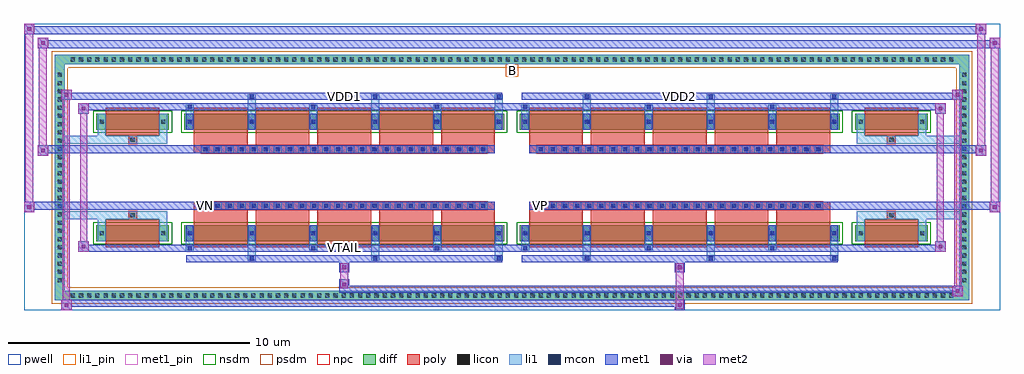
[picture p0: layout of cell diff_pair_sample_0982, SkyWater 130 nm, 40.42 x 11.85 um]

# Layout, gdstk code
import gdstk
lib = gdstk.Library(unit=1e-6, precision=5e-09)
def R(c, l, rs):  # rectangles x0, y0, x1, y1
    for r in rs: c.add(gdstk.rectangle(r[:2], r[2:], *l))
def A(c, l, x, y, w, h, nx, ny, dx, dy):  # array of equal rectangles
    R(c, l, [(x+i*dx, y+j*dy, x+i*dx+w, y+j*dy+h) for i in range(nx) for j in range(ny)])
def P(c, l, *ps):  # polygons
    for p in ps: c.add(gdstk.Polygon(p, *l))
pwell = (64, 44)
diff = (65, 20)
poly = (66, 20)
licon = (66, 44)
li1_pin = (67, 16)
li1 = (67, 20)
mcon = (67, 44)
met1_pin = (68, 16)
met1 = (68, 20)
via = (68, 44)
met2 = (69, 20)
nsdm = (93, 44)
psdm = (94, 20)
npc = (95, 20)

diff_pair_sample_0982 = lib.new_cell('diff_pair_sample_0982')
R(diff_pair_sample_0982, pwell, [(-20.21,-5.49,20.21,6.36), (-17.53,-3.68,-0.01,-0.8), (0.01,-3.68,17.53,-0.8), (-17.53,0.8,-0.01,3.68), (0.01,0.8,17.53,3.68)])
A(diff_pair_sample_0982, diff, -18.395, -5.09, 0.41, 0.41, 108, 2, 0.34, 9.77)
A(diff_pair_sample_0982, diff, -18.94, -4.455, 0.41, 0.41, 1, 26, 0, 0.34)
A(diff_pair_sample_0982, diff, 18.53, -4.455, 0.41, 0.41, 1, 26, 0, 0.34)
R(diff_pair_sample_0982, diff, [(-18.395,-5.09,18.395,-4.68), (-18.94,-4.455,-18.53,4.455), (18.53,-4.455,18.94,4.455), (-17.22,-2.635,-14.21,-1.985), (-13.57,-2.635,-0.32,-1.985), (0.32,-2.635,13.57,-1.985), (14.21,-2.635,17.22,-1.985), (-17.22,1.985,-14.21,2.635), (-13.57,1.985,-0.32,2.635), (0.32,1.985,13.57,2.635), (14.21,1.985,17.22,2.635), (-18.395,4.68,18.395,5.09)])
P(diff_pair_sample_0982, diff, [(18.94,5.09),(-18.94,5.09),(-18.94,-4.68),(-18.53,-4.68),(-18.53,4.68),(18.53,4.68),(18.53,-4.68),(-18.53,-4.68),(-18.94,-4.68),(-18.94,-5.09),(18.94,-5.09)])
A(diff_pair_sample_0982, poly, -13.18, -2.885, 2.23, 1.15, 5, 2, 2.56, 4.62)
A(diff_pair_sample_0982, poly, 0.71, -2.885, 2.23, 1.15, 5, 2, 2.56, 4.62)
A(diff_pair_sample_0982, poly, -13.18, -1.735, 2.23, 0.405, 5, 2, 2.56, 3.065)
A(diff_pair_sample_0982, poly, 0.71, -1.735, 2.23, 0.405, 5, 2, 2.56, 3.065)
A(diff_pair_sample_0982, poly, -12.86, -1.33, 0.33, 0.33, 24, 2, 0.5, 2.33)
A(diff_pair_sample_0982, poly, 1.03, -1.33, 0.33, 0.33, 24, 2, 0.5, 2.33)
R(diff_pair_sample_0982, poly, [(-16.83,-2.885,-14.6,-1.735), (14.6,-2.885,16.83,-1.735), (-15.88,-1.735,-15.55,-1.405), (-15.88,-1.735,-15.55,-1.405), (15.55,-1.735,15.88,-1.405), (15.55,-1.735,15.88,-1.405), (-13.18,-1.33,-0.71,-1), (0.71,-1.33,13.18,-1), (-13.18,1,-0.71,1.33), (0.71,1,13.18,1.33), (-15.88,1.405,-15.55,1.735), (-15.88,1.405,-15.55,1.735), (15.55,1.405,15.88,1.735), (15.55,1.405,15.88,1.735), (-16.83,1.735,-14.6,2.885), (14.6,1.735,16.83,2.885)])
A(diff_pair_sample_0982, licon, -18.275, -4.97, 0.17, 0.17, 108, 2, 0.34, 9.77)
A(diff_pair_sample_0982, licon, -18.82, -4.335, 0.17, 0.17, 1, 26, 0, 0.34)
A(diff_pair_sample_0982, licon, 18.65, -4.335, 0.17, 0.17, 1, 26, 0, 0.34)
A(diff_pair_sample_0982, licon, -13.43, -2.395, 0.17, 0.17, 6, 2, 2.56, 4.62)
A(diff_pair_sample_0982, licon, 0.46, -2.395, 0.17, 0.17, 6, 2, 2.56, 4.62)
A(diff_pair_sample_0982, licon, -12.78, -1.25, 0.17, 0.17, 24, 2, 0.5, 2.33)
A(diff_pair_sample_0982, licon, 1.11, -1.25, 0.17, 0.17, 24, 2, 0.5, 2.33)
R(diff_pair_sample_0982, licon, [(-17.08,-2.395,-16.91,-2.225), (-14.52,-2.395,-14.35,-2.225), (14.35,-2.395,14.52,-2.225), (16.91,-2.395,17.08,-2.225), (-15.8,-1.655,-15.63,-1.485), (15.63,-1.655,15.8,-1.485), (-15.8,1.485,-15.63,1.655), (15.63,1.485,15.8,1.655), (-17.08,2.225,-16.91,2.395), (-14.52,2.225,-14.35,2.395), (14.35,2.225,14.52,2.395), (16.91,2.225,17.08,2.395)])
R(diff_pair_sample_0982, li1_pin, [(-0.25,4.18,0.25,4.68)])
A(diff_pair_sample_0982, li1, -18.355, -5.05, 0.33, 0.33, 108, 2, 0.34, 9.77)
A(diff_pair_sample_0982, li1, -18.9, -4.415, 0.33, 0.33, 1, 26, 0, 0.34)
A(diff_pair_sample_0982, li1, 18.57, -4.415, 0.33, 0.33, 1, 26, 0, 0.34)
A(diff_pair_sample_0982, li1, -10.95, -3.44, 0.33, 0.805, 3, 2, 5.12, 6.075)
A(diff_pair_sample_0982, li1, -10.87, -3.44, 0.17, 0.17, 3, 2, 5.12, 6.71)
A(diff_pair_sample_0982, li1, 2.94, -3.44, 0.33, 0.805, 3, 2, 5.12, 6.075)
A(diff_pair_sample_0982, li1, 3.02, -3.44, 0.17, 0.17, 3, 2, 5.12, 6.71)
A(diff_pair_sample_0982, li1, -13.51, -3.01, 0.33, 0.375, 3, 2, 5.12, 5.645)
A(diff_pair_sample_0982, li1, -13.43, -3.01, 0.17, 0.17, 3, 2, 5.12, 5.85)
A(diff_pair_sample_0982, li1, 0.38, -3.01, 0.33, 0.375, 3, 2, 5.12, 5.645)
A(diff_pair_sample_0982, li1, 0.46, -3.01, 0.17, 0.17, 3, 2, 5.12, 5.85)
A(diff_pair_sample_0982, li1, -13.51, -2.635, 0.33, 0.65, 6, 2, 2.56, 4.62)
A(diff_pair_sample_0982, li1, 0.38, -2.635, 0.33, 0.65, 6, 2, 2.56, 4.62)
A(diff_pair_sample_0982, li1, -13.51, -2.475, 0.33, 0.33, 6, 2, 2.56, 4.62)
A(diff_pair_sample_0982, li1, 0.38, -2.475, 0.33, 0.33, 6, 2, 2.56, 4.62)
A(diff_pair_sample_0982, li1, -12.86, -1.33, 0.33, 0.33, 24, 2, 0.5, 2.33)
A(diff_pair_sample_0982, li1, 1.03, -1.33, 0.33, 0.33, 24, 2, 0.5, 2.33)
R(diff_pair_sample_0982, li1, [(-18.94,-5.09,-18.53,-4.68), (-18.94,-5.09,-18.53,-4.68), (-18.53,-5.09,18.53,-4.68), (18.53,-5.09,18.94,-4.68), (18.53,-5.09,18.94,-4.68), (-18.94,-4.68,-18.53,4.68), (18.53,-4.68,18.94,4.68), (-17.16,-2.635,-16.83,-1.985), (-14.6,-2.635,-14.27,-1.985), (14.27,-2.635,14.6,-1.985), (16.83,-2.635,17.16,-1.985), (-17.16,-2.475,-16.83,-2.145), (-14.6,-2.475,-14.27,-2.145), (14.27,-2.475,14.6,-2.145), (16.83,-2.475,17.16,-2.145), (-13.43,-2.395,-13.26,-2.225), (-13.43,-2.395,-13.26,-2.225), (-10.87,-2.395,-10.7,-2.225), (-10.87,-2.395,-10.7,-2.225), (-8.31,-2.395,-8.14,-2.225), (-8.31,-2.395,-8.14,-2.225), (-5.75,-2.395,-5.58,-2.225), (-5.75,-2.395,-5.58,-2.225), (-3.19,-2.395,-3.02,-2.225), (-3.19,-2.395,-3.02,-2.225), (-0.63,-2.395,-0.46,-2.225), (-0.63,-2.395,-0.46,-2.225), (0.46,-2.395,0.63,-2.225), (0.46,-2.395,0.63,-2.225), (3.02,-2.395,3.19,-2.225), (3.02,-2.395,3.19,-2.225), (5.58,-2.395,5.75,-2.225), (5.58,-2.395,5.75,-2.225), (8.14,-2.395,8.31,-2.225), (8.14,-2.395,8.31,-2.225), (10.7,-2.395,10.87,-2.225), (10.7,-2.395,10.87,-2.225), (13.26,-2.395,13.43,-2.225), (13.26,-2.395,13.43,-2.225), (-17.16,-1.985,-16.83,-1.405), (-14.6,-1.985,-14.27,-1.405), (14.27,-1.985,14.6,-1.405), (16.83,-1.985,17.16,-1.405), (-18.94,-1.735,-15.88,-1.405), (-17.16,-1.735,-15.88,-1.405), (-15.88,-1.735,-15.55,-1.405), (-15.55,-1.735,-14.27,-1.405), (14.27,-1.735,15.55,-1.405), (15.55,-1.735,15.88,-1.405), (15.55,-1.735,18.94,-1.405), (15.88,-1.735,17.16,-1.405), (-18.94,1.405,-15.88,1.735), (-17.16,1.405,-15.88,1.735), (-17.16,1.405,-16.83,1.985), (-15.88,1.405,-15.55,1.735), (-15.55,1.405,-14.27,1.735), (-14.6,1.405,-14.27,1.985), (14.27,1.405,15.55,1.735), (14.27,1.405,14.6,1.985), (15.55,1.405,15.88,1.735), (15.55,1.405,18.94,1.735), (15.88,1.405,17.16,1.735), (16.83,1.405,17.16,1.985), (-17.16,1.985,-16.83,2.635), (-14.6,1.985,-14.27,2.635), (14.27,1.985,14.6,2.635), (16.83,1.985,17.16,2.635), (-17.16,2.145,-16.83,2.475), (-14.6,2.145,-14.27,2.475), (14.27,2.145,14.6,2.475), (16.83,2.145,17.16,2.475), (-13.43,2.225,-13.26,2.395), (-13.43,2.225,-13.26,2.395), (-10.87,2.225,-10.7,2.395), (-10.87,2.225,-10.7,2.395), (-8.31,2.225,-8.14,2.395), (-8.31,2.225,-8.14,2.395), (-5.75,2.225,-5.58,2.395), (-5.75,2.225,-5.58,2.395), (-3.19,2.225,-3.02,2.395), (-3.19,2.225,-3.02,2.395), (-0.63,2.225,-0.46,2.395), (-0.63,2.225,-0.46,2.395), (0.46,2.225,0.63,2.395), (0.46,2.225,0.63,2.395), (3.02,2.225,3.19,2.395), (3.02,2.225,3.19,2.395), (5.58,2.225,5.75,2.395), (5.58,2.225,5.75,2.395), (8.14,2.225,8.31,2.395), (8.14,2.225,8.31,2.395), (10.7,2.225,10.87,2.395), (10.7,2.225,10.87,2.395), (13.26,2.225,13.43,2.395), (13.26,2.225,13.43,2.395), (-18.94,4.68,-18.53,5.09), (-18.94,4.68,-18.53,5.09), (-18.53,4.68,18.53,5.09), (18.53,4.68,18.94,5.09), (18.53,4.68,18.94,5.09)])
A(diff_pair_sample_0982, mcon, -10.87, -3.44, 0.17, 0.17, 3, 2, 5.12, 6.71)
A(diff_pair_sample_0982, mcon, 3.02, -3.44, 0.17, 0.17, 3, 2, 5.12, 6.71)
A(diff_pair_sample_0982, mcon, -13.43, -3.01, 0.17, 0.17, 3, 2, 5.12, 5.85)
A(diff_pair_sample_0982, mcon, 0.46, -3.01, 0.17, 0.17, 3, 2, 5.12, 5.85)
A(diff_pair_sample_0982, mcon, -13.43, -2.395, 0.17, 0.17, 6, 2, 2.56, 4.62)
A(diff_pair_sample_0982, mcon, 0.46, -2.395, 0.17, 0.17, 6, 2, 2.56, 4.62)
A(diff_pair_sample_0982, mcon, -12.78, -1.25, 0.17, 0.17, 24, 2, 0.5, 2.33)
A(diff_pair_sample_0982, mcon, 1.11, -1.25, 0.17, 0.17, 24, 2, 0.5, 2.33)
R(diff_pair_sample_0982, met1_pin, [(-7.08,-3.05,-6.81,-2.78), (-12.83,-1.29,-12.56,-1.02), (1.06,-1.29,1.33,-1.02), (-7.08,3.23,-6.81,3.5), (6.81,3.23,7.08,3.5)])
A(diff_pair_sample_0982, met1, -10.93, -3.5, 0.29, 0.29, 3, 2, 5.12, 6.71)
A(diff_pair_sample_0982, met1, 2.96, -3.5, 0.29, 0.29, 3, 2, 5.12, 6.71)
A(diff_pair_sample_0982, met1, -13.49, -3.07, 0.29, 0.29, 3, 2, 5.12, 5.85)
A(diff_pair_sample_0982, met1, 0.4, -3.07, 0.29, 0.29, 3, 2, 5.12, 5.85)
A(diff_pair_sample_0982, met1, -13.49, -2.635, 0.29, 0.65, 6, 2, 2.56, 4.62)
A(diff_pair_sample_0982, met1, 0.4, -2.635, 0.29, 0.65, 6, 2, 2.56, 4.62)
A(diff_pair_sample_0982, met1, -13.49, -2.455, 0.29, 0.29, 6, 2, 2.56, 4.62)
A(diff_pair_sample_0982, met1, 0.4, -2.455, 0.29, 0.29, 6, 2, 2.56, 4.62)
A(diff_pair_sample_0982, met1, -12.84, -1.31, 0.29, 0.29, 24, 2, 0.5, 2.33)
A(diff_pair_sample_0982, met1, 1.05, -1.31, 0.29, 0.29, 24, 2, 0.5, 2.33)
R(diff_pair_sample_0982, met1, [(-18.67,-5.49,-18.24,-5.06), (6.73,-5.49,7.16,-5.06), (-18.67,-5.35,7.16,-5.06), (18.24,-4.92,18.67,-4.49), (-7.16,-4.78,18.67,-4.49), (-7.16,-4.64,-6.73,-4.21), (-7.16,-3.93,-6.73,-3.5), (6.73,-3.93,7.16,-3.5), (-13.49,-3.5,-0.4,-3.21), (0.4,-3.5,13.49,-3.21), (-17.96,-3.07,-17.53,-2.64), (-17.96,-3.07,-13.49,-2.78), (-13.49,-3.07,-0.4,-2.78), (-0.4,-3.07,0.4,-2.78), (0.4,-3.07,13.49,-2.78), (13.49,-3.07,17.96,-2.78), (17.53,-3.07,17.96,-2.64), (-20.21,-1.43,-19.78,-1), (19.78,-1.43,20.21,-1), (-20.21,-1.33,-0.71,-1), (-13.18,-1.33,-0.71,-1), (0.71,-1.33,13.18,-1), (0.71,-1.33,20.21,-1), (-19.64,0.9,-19.21,1.33), (19.21,0.9,19.64,1.33), (-19.64,1,-13.18,1.33), (-13.18,1,-0.71,1.33), (0.71,1,13.18,1.33), (13.18,1,19.64,1.33), (-17.96,2.64,-17.53,3.07), (17.53,2.64,17.96,3.07), (-17.96,2.78,-13.49,3.07), (-13.49,2.78,-0.4,3.07), (-0.4,2.78,0.4,3.07), (0.4,2.78,13.49,3.07), (13.49,2.78,17.96,3.07), (-18.67,3.21,-18.24,3.64), (-18.67,3.21,-13.49,3.5), (-13.49,3.21,-0.4,3.5), (0.4,3.21,13.49,3.5), (13.49,3.21,18.67,3.5), (18.24,3.21,18.67,3.64), (-19.64,5.36,-19.21,5.79), (-19.64,5.36,-17.53,5.69), (-17.53,5.36,17.53,5.69), (17.53,5.36,20.21,5.69), (19.78,5.36,20.21,5.79), (-20.21,5.93,-19.78,6.36), (-20.21,5.93,-17.53,6.26), (-17.53,5.93,17.53,6.26), (17.53,5.93,19.64,6.26), (19.21,5.93,19.64,6.36)])
R(diff_pair_sample_0982, via, [(-18.53,-5.35,-18.38,-5.2), (6.87,-5.35,7.02,-5.2), (18.38,-4.78,18.53,-4.63), (-7.02,-4.5,-6.87,-4.35), (-7.02,-3.79,-6.87,-3.64), (6.87,-3.79,7.02,-3.64), (-17.82,-2.93,-17.67,-2.78), (17.67,-2.93,17.82,-2.78), (-20.07,-1.29,-19.92,-1.14), (19.92,-1.29,20.07,-1.14), (-19.5,1.04,-19.35,1.19), (19.35,1.04,19.5,1.19), (-17.82,2.78,-17.67,2.93), (17.67,2.78,17.82,2.93), (-18.53,3.35,-18.38,3.5), (18.38,3.35,18.53,3.5), (-19.5,5.5,-19.35,5.65), (19.92,5.5,20.07,5.65), (-20.07,6.07,-19.92,6.22), (19.35,6.07,19.5,6.22)])
R(diff_pair_sample_0982, met2, [(-18.67,-5.49,-18.24,-5.06), (-18.6,-5.49,-18.31,3.64), (-18.31,-5.49,-18.24,-5.06), (-18.62,-5.44,-18.29,-5.11), (6.78,-5.44,7.11,-5.11), (6.78,-5.11,7.11,-3.88), (18.24,-4.92,18.67,-4.49), (18.31,-4.92,18.6,3.64), (18.6,-4.92,18.67,-4.49), (18.29,-4.87,18.62,-4.54), (-7.11,-4.59,-6.78,-4.26), (-7.11,-4.26,-6.78,-3.88), (-7.11,-3.88,-6.78,-3.55), (6.78,-3.88,7.11,-3.55), (-17.96,-3.07,-17.53,-2.64), (-17.89,-3.07,-17.6,3.07), (-17.6,-3.07,-17.53,-2.64), (17.53,-3.07,17.96,-2.64), (17.6,-3.07,17.89,3.07), (17.89,-3.07,17.96,-2.64), (-17.91,-3.02,-17.58,-2.69), (17.58,-3.02,17.91,-2.69), (-20.21,-1.43,-19.78,-1), (-20.16,-1.43,-19.83,6.36), (-19.83,-1.43,-19.78,-1), (19.78,-1.43,20.21,-1), (19.83,-1.43,20.16,5.79), (20.16,-1.43,20.21,-1), (-20.16,-1.38,-19.83,-1.05), (19.83,-1.38,20.16,-1.05), (-19.64,0.9,-19.21,1.33), (-19.59,0.9,-19.26,5.79), (-19.26,0.9,-19.21,1.33), (19.21,0.9,19.64,1.33), (19.26,0.9,19.59,6.36), (19.59,0.9,19.64,1.33), (-19.59,0.95,-19.26,1.28), (19.26,0.95,19.59,1.28), (-17.96,2.64,-17.53,3.07), (-17.6,2.64,-17.53,3.07), (17.53,2.64,17.96,3.07), (17.89,2.64,17.96,3.07), (-17.91,2.69,-17.58,3.02), (17.58,2.69,17.91,3.02), (-18.67,3.21,-18.24,3.64), (-18.31,3.21,-18.24,3.64), (18.24,3.21,18.67,3.64), (18.6,3.21,18.67,3.64), (-18.62,3.26,-18.29,3.59), (18.29,3.26,18.62,3.59), (-19.64,5.36,-19.21,5.79), (-19.26,5.36,-19.21,5.79), (19.78,5.36,20.21,5.79), (20.16,5.36,20.21,5.79), (-19.59,5.41,-19.26,5.74), (19.83,5.41,20.16,5.74), (-20.21,5.93,-19.78,6.36), (-19.83,5.93,-19.78,6.36), (19.21,5.93,19.64,6.36), (19.59,5.93,19.64,6.36), (-20.16,5.98,-19.83,6.31), (19.26,5.98,19.59,6.31)])
R(diff_pair_sample_0982, nsdm, [(-17.35,-2.765,-14.08,-1.855), (-13.7,-2.765,-0.19,-1.855), (0.19,-2.765,13.7,-1.855), (14.08,-2.765,17.35,-1.855), (-17.35,1.855,-14.08,2.765), (-13.7,1.855,-0.19,2.765), (0.19,1.855,13.7,2.765), (14.08,1.855,17.35,2.765)])
P(diff_pair_sample_0982, psdm, [(19.07,5.22),(-19.07,5.22),(-19.07,-4.55),(-18.4,-4.55),(-18.4,4.55),(18.4,4.55),(18.4,-4.55),(-18.4,-4.55),(-19.07,-4.55),(-19.07,-5.22),(19.07,-5.22)])
A(diff_pair_sample_0982, npc, -12.88, -1.35, 0.37, 0.37, 24, 2, 0.5, 2.33)
A(diff_pair_sample_0982, npc, 1.01, -1.35, 0.37, 0.37, 24, 2, 0.5, 2.33)
R(diff_pair_sample_0982, npc, [(-15.9,-1.755,-15.53,-1.385), (15.53,-1.755,15.9,-1.385), (-12.88,-1.35,-12.01,-0.98), (-12.88,-1.35,-12.01,-0.98), (-12.38,-1.35,-11.51,-0.98), (-12.38,-1.35,-11.51,-0.98), (-11.88,-1.35,-11.01,-0.98), (-11.88,-1.35,-11.01,-0.98), (-11.38,-1.35,-10.51,-0.98), (-11.38,-1.35,-10.51,-0.98), (-10.88,-1.35,-10.01,-0.98), (-10.88,-1.35,-10.01,-0.98), (-10.38,-1.35,-9.51,-0.98), (-10.38,-1.35,-9.51,-0.98), (-9.88,-1.35,-9.01,-0.98), (-9.88,-1.35,-9.01,-0.98), (-9.38,-1.35,-8.51,-0.98), (-9.38,-1.35,-8.51,-0.98), (-8.88,-1.35,-8.01,-0.98), (-8.88,-1.35,-8.01,-0.98), (-8.38,-1.35,-7.51,-0.98), (-8.38,-1.35,-7.51,-0.98), (-7.88,-1.35,-7.01,-0.98), (-7.88,-1.35,-7.01,-0.98), (-7.38,-1.35,-6.51,-0.98), (-7.38,-1.35,-6.51,-0.98), (-6.88,-1.35,-6.01,-0.98), (-6.88,-1.35,-6.01,-0.98), (-6.38,-1.35,-5.51,-0.98), (-6.38,-1.35,-5.51,-0.98), (-5.88,-1.35,-5.01,-0.98), (-5.88,-1.35,-5.01,-0.98), (-5.38,-1.35,-4.51,-0.98), (-5.38,-1.35,-4.51,-0.98), (-4.88,-1.35,-4.01,-0.98), (-4.88,-1.35,-4.01,-0.98), (-4.38,-1.35,-3.51,-0.98), (-4.38,-1.35,-3.51,-0.98), (-3.88,-1.35,-3.01,-0.98), (-3.88,-1.35,-3.01,-0.98), (-3.38,-1.35,-2.51,-0.98), (-3.38,-1.35,-2.51,-0.98), (-2.88,-1.35,-2.01,-0.98), (-2.88,-1.35,-2.01,-0.98), (-2.38,-1.35,-1.51,-0.98), (-2.38,-1.35,-1.51,-0.98), (-1.88,-1.35,-1.01,-0.98), (-1.88,-1.35,-1.01,-0.98), (1.01,-1.35,1.88,-0.98), (1.01,-1.35,1.88,-0.98), (1.51,-1.35,2.38,-0.98), (1.51,-1.35,2.38,-0.98), (2.01,-1.35,2.88,-0.98), (2.01,-1.35,2.88,-0.98), (2.51,-1.35,3.38,-0.98), (2.51,-1.35,3.38,-0.98), (3.01,-1.35,3.88,-0.98), (3.01,-1.35,3.88,-0.98), (3.51,-1.35,4.38,-0.98), (3.51,-1.35,4.38,-0.98), (4.01,-1.35,4.88,-0.98), (4.01,-1.35,4.88,-0.98), (4.51,-1.35,5.38,-0.98), (4.51,-1.35,5.38,-0.98), (5.01,-1.35,5.88,-0.98), (5.01,-1.35,5.88,-0.98), (5.51,-1.35,6.38,-0.98), (5.51,-1.35,6.38,-0.98), (6.01,-1.35,6.88,-0.98), (6.01,-1.35,6.88,-0.98), (6.51,-1.35,7.38,-0.98), (6.51,-1.35,7.38,-0.98), (7.01,-1.35,7.88,-0.98), (7.01,-1.35,7.88,-0.98), (7.51,-1.35,8.38,-0.98), (7.51,-1.35,8.38,-0.98), (8.01,-1.35,8.88,-0.98), (8.01,-1.35,8.88,-0.98), (8.51,-1.35,9.38,-0.98), (8.51,-1.35,9.38,-0.98), (9.01,-1.35,9.88,-0.98), (9.01,-1.35,9.88,-0.98), (9.51,-1.35,10.38,-0.98), (9.51,-1.35,10.38,-0.98), (10.01,-1.35,10.88,-0.98), (10.01,-1.35,10.88,-0.98), (10.51,-1.35,11.38,-0.98), (10.51,-1.35,11.38,-0.98), (11.01,-1.35,11.88,-0.98), (11.01,-1.35,11.88,-0.98), (11.51,-1.35,12.38,-0.98), (11.51,-1.35,12.38,-0.98), (12.01,-1.35,12.88,-0.98), (12.01,-1.35,12.88,-0.98), (-12.88,0.98,-12.01,1.35), (-12.88,0.98,-12.01,1.35), (-12.38,0.98,-11.51,1.35), (-12.38,0.98,-11.51,1.35), (-11.88,0.98,-11.01,1.35), (-11.88,0.98,-11.01,1.35), (-11.38,0.98,-10.51,1.35), (-11.38,0.98,-10.51,1.35), (-10.88,0.98,-10.01,1.35), (-10.88,0.98,-10.01,1.35), (-10.38,0.98,-9.51,1.35), (-10.38,0.98,-9.51,1.35), (-9.88,0.98,-9.01,1.35), (-9.88,0.98,-9.01,1.35), (-9.38,0.98,-8.51,1.35), (-9.38,0.98,-8.51,1.35), (-8.88,0.98,-8.01,1.35), (-8.88,0.98,-8.01,1.35), (-8.38,0.98,-7.51,1.35), (-8.38,0.98,-7.51,1.35), (-7.88,0.98,-7.01,1.35), (-7.88,0.98,-7.01,1.35), (-7.38,0.98,-6.51,1.35), (-7.38,0.98,-6.51,1.35), (-6.88,0.98,-6.01,1.35), (-6.88,0.98,-6.01,1.35), (-6.38,0.98,-5.51,1.35), (-6.38,0.98,-5.51,1.35), (-5.88,0.98,-5.01,1.35), (-5.88,0.98,-5.01,1.35), (-5.38,0.98,-4.51,1.35), (-5.38,0.98,-4.51,1.35), (-4.88,0.98,-4.01,1.35), (-4.88,0.98,-4.01,1.35), (-4.38,0.98,-3.51,1.35), (-4.38,0.98,-3.51,1.35), (-3.88,0.98,-3.01,1.35), (-3.88,0.98,-3.01,1.35), (-3.38,0.98,-2.51,1.35), (-3.38,0.98,-2.51,1.35), (-2.88,0.98,-2.01,1.35), (-2.88,0.98,-2.01,1.35), (-2.38,0.98,-1.51,1.35), (-2.38,0.98,-1.51,1.35), (-1.88,0.98,-1.01,1.35), (-1.88,0.98,-1.01,1.35), (1.01,0.98,1.88,1.35), (1.01,0.98,1.88,1.35), (1.51,0.98,2.38,1.35), (1.51,0.98,2.38,1.35), (2.01,0.98,2.88,1.35), (2.01,0.98,2.88,1.35), (2.51,0.98,3.38,1.35), (2.51,0.98,3.38,1.35), (3.01,0.98,3.88,1.35), (3.01,0.98,3.88,1.35), (3.51,0.98,4.38,1.35), (3.51,0.98,4.38,1.35), (4.01,0.98,4.88,1.35), (4.01,0.98,4.88,1.35), (4.51,0.98,5.38,1.35), (4.51,0.98,5.38,1.35), (5.01,0.98,5.88,1.35), (5.01,0.98,5.88,1.35), (5.51,0.98,6.38,1.35), (5.51,0.98,6.38,1.35), (6.01,0.98,6.88,1.35), (6.01,0.98,6.88,1.35), (6.51,0.98,7.38,1.35), (6.51,0.98,7.38,1.35), (7.01,0.98,7.88,1.35), (7.01,0.98,7.88,1.35), (7.51,0.98,8.38,1.35), (7.51,0.98,8.38,1.35), (8.01,0.98,8.88,1.35), (8.01,0.98,8.88,1.35), (8.51,0.98,9.38,1.35), (8.51,0.98,9.38,1.35), (9.01,0.98,9.88,1.35), (9.01,0.98,9.88,1.35), (9.51,0.98,10.38,1.35), (9.51,0.98,10.38,1.35), (10.01,0.98,10.88,1.35), (10.01,0.98,10.88,1.35), (10.51,0.98,11.38,1.35), (10.51,0.98,11.38,1.35), (11.01,0.98,11.88,1.35), (11.01,0.98,11.88,1.35), (11.51,0.98,12.38,1.35), (11.51,0.98,12.38,1.35), (12.01,0.98,12.88,1.35), (12.01,0.98,12.88,1.35), (-15.9,1.385,-15.53,1.755), (15.53,1.385,15.9,1.755)])
diff_pair_sample_0982.add(gdstk.Label('VTAIL', (-6.945,-2.915), layer=68, texttype=5))
diff_pair_sample_0982.add(gdstk.Label('VN', (-12.695,-1.155), layer=68, texttype=5))
diff_pair_sample_0982.add(gdstk.Label('VP', (1.195,-1.155), layer=68, texttype=5))
diff_pair_sample_0982.add(gdstk.Label('B', (0,4.43), layer=67, texttype=5))
diff_pair_sample_0982.add(gdstk.Label('VDD2', (6.945,3.365), layer=68, texttype=5))
diff_pair_sample_0982.add(gdstk.Label('VDD1', (-6.945,3.365), layer=68, texttype=5))

lib.write_gds('diff_pair_sample_0982.gds')
